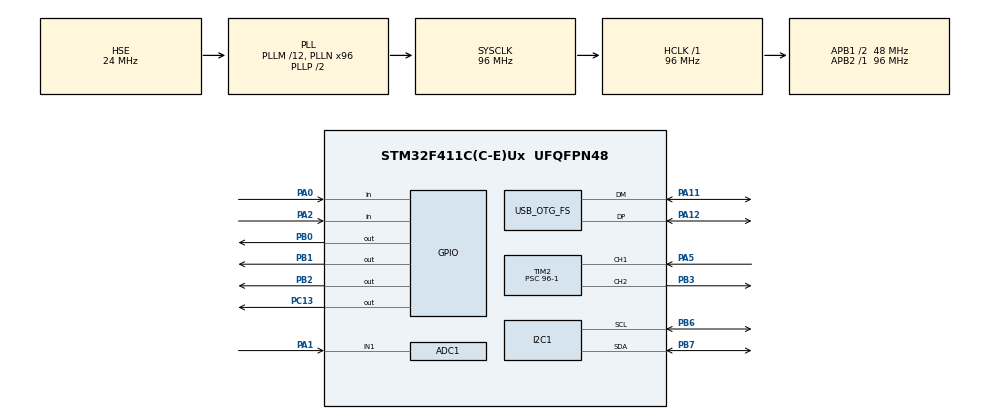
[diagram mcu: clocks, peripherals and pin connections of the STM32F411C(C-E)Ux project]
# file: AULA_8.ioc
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ADC1.Channel-6\#ChannelRegularConversion=ADC_CHANNEL_1
ADC1.DMAContinuousRequests=ENABLE
ADC1.ExternalTrigConv=ADC_EXTERNALTRIGCONV_T2_TRGO
ADC1.ExternalTrigConvEdge=ADC_EXTERNALTRIGCONVEDGE_RISINGFALLING
ADC1.NbrOfConversionFlag=1
ADC1.Rank-6\#ChannelRegularConversion=1
ADC1.SamplingTime-6\#ChannelRegularConversion=ADC_SAMPLETIME_3CYCLES
ADC1.master=1
Dma.ADC1.0.Direction=DMA_PERIPH_TO_MEMORY
Dma.ADC1.0.FIFOMode=DMA_FIFOMODE_DISABLE
Dma.ADC1.0.Instance=DMA2_Stream0
Dma.ADC1.0.MemDataAlignment=DMA_MDATAALIGN_HALFWORD
Dma.ADC1.0.MemInc=DMA_MINC_ENABLE
Dma.ADC1.0.Mode=DMA_CIRCULAR
Dma.ADC1.0.PeriphDataAlignment=DMA_PDATAALIGN_HALFWORD
Dma.ADC1.0.PeriphInc=DMA_PINC_DISABLE
Dma.ADC1.0.Priority=DMA_PRIORITY_LOW
Dma.Request0=ADC1
Mcu.Family=STM32F4
Mcu.Name=STM32F411C(C-E)Ux
Mcu.Package=UFQFPN48
<<<<<<< HEAD
<<<<<<< HEAD
=======
>>>>>>> ba589f88c5c0d3c41fc62e627c44f500e650f5d9
=======
>>>>>>> ba589f88c5c0d3c41fc62e627c44f500e650f5d9
NVIC.ADC_IRQn=true\:0\:0\:false\:false\:true\:true\:true\:true
NVIC.DMA2_Stream0_IRQn=true\:0\:0\:false\:false\:true\:false\:true\:true
NVIC.OTG_FS_IRQn=true\:0\:0\:false\:false\:true\:false\:true\:true
NVIC.PriorityGroup=NVIC_PRIORITYGROUP_4
PA0-WKUP.GPIO_PuPd=GPIO_PULLUP
PA0-WKUP.Signal=GPIO_Input
PA1.Signal=ADCx_IN1
PA11.Mode=Device_Only
PA11.Signal=USB_OTG_FS_DM
PA12.Mode=Device_Only
PA12.Signal=USB_OTG_FS_DP
PA13.Mode=Serial_Wire
PA13.Signal=SYS_JTMS-SWDIO
PA14.Mode=Serial_Wire
PA14.Signal=SYS_JTCK-SWCLK
PA2.GPIO_PuPd=GPIO_PULLUP
PA2.Signal=GPIO_Input
PA5.Signal=S_TIM2_CH1_ETR
PB0.Signal=GPIO_Output
PB1.Signal=GPIO_Output
PB2.Signal=GPIO_Output
PB3.Signal=S_TIM2_CH2
PB6.Mode=I2C
PB6.Signal=I2C1_SCL
PB7.Mode=I2C
PB7.Signal=I2C1_SDA
PC13-ANTI_TAMP.Signal=GPIO_Output
PH0\ -\ OSC_IN.Mode=HSE-External-Oscillator
PH0\ -\ OSC_IN.Signal=RCC_OSC_IN
PH1\ -\ OSC_OUT.Mode=HSE-External-Oscillator
PH1\ -\ OSC_OUT.Signal=RCC_OSC_OUT
ProjectManager.HeapSize=0x200
ProjectManager.StackSize=0x400
ProjectManager.TargetToolchain=STM32CubeIDE
RCC.48MHZClocksFreq_Value=48000000
RCC.AHBFreq_Value=96000000
RCC.APB1CLKDivider=RCC_HCLK_DIV2
RCC.APB1Freq_Value=48000000
RCC.APB1TimFreq_Value=96000000
RCC.APB2Freq_Value=96000000
RCC.APB2TimFreq_Value=96000000
RCC.CortexFreq_Value=96000000
RCC.HCLKFreq_Value=96000000
RCC.HSE_VALUE=24000000
RCC.HSI_VALUE=16000000
RCC.LSE_VALUE=32768
RCC.PLLM=12
RCC.PLLN=96
RCC.SYSCLKFreq_VALUE=96000000
RCC.SYSCLKSource=RCC_SYSCLKSOURCE_PLLCLK
RCC.VCOOutputFreq_Value=192000000
SH.ADCx_IN1.0=ADC1_IN1,IN1
SH.S_TIM2_CH1_ETR.0=TIM2_CH1,TriggerSource_TI1FP1
SH.S_TIM2_CH2.0=TIM2_CH2,PWM Generation2 CH2
TIM2.Channel-PWM\ Generation2\ CH2=TIM_CHANNEL_2
TIM2.OCPolarity_2=TIM_OCPOLARITY_LOW
TIM2.Period=2600-1
TIM2.Prescaler=96-1
TIM2.Pulse-PWM\ Generation2\ CH2=2500
TIM2.Slave_TriggerPolarity=TIM_TRIGGERPOLARITY_BOTHEDGE
TIM2.TIM_MasterOutputTrigger=TIM_TRGO_UPDATE
TIM2.TIM_MasterSlaveMode=TIM_MASTERSLAVEMODE_ENABLE
USB_DEVICE.CLASS_NAME_FS=CDC
USB_DEVICE.VirtualMode=Cdc
USB_DEVICE.VirtualModeFS=Cdc_FS
USB_OTG_FS.VirtualMode=Device_Only
VP_TIM2_VS_ClockSourceINT.Mode=Internal
VP_TIM2_VS_ControllerModeTrigger.Mode=Trigger Mode
VP_TIM2_VS_OPM.Mode=OPM_bit
VP_USB_DEVICE_VS_USB_DEVICE_CDC_FS.Mode=CDC_FS
board=custom

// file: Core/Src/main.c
/* USER CODE BEGIN Header */
/**
 ******************************************************************************
 * @file           : main.c
 * @brief          : Main program body
 ******************************************************************************
 * @attention
 *
 * Copyright (c) 2024 STMicroelectronics.
 * All rights reserved.
 *
 * This software is licensed under terms that can be found in the LICENSE file
 * in the root directory of this software component.
 * If no LICENSE file comes with this software, it is provided AS-IS.
 *
 ******************************************************************************
 */
/* USER CODE END Header */
#include "main.h"
#include "usb_device.h"

/* USER CODE BEGIN Includes */
#include <string.h>
#include <stdio.h>
#include <count2volt.h>

/* USER CODE END Includes */

/* USER CODE BEGIN PD */
#define ADCBUFFERSIZE 20
#define ADCRES 12
//#define ROUNDRES // for fun only
//#define GRAPH
/* USER CODE END PD */

ADC_HandleTypeDef hadc1;
DMA_HandleTypeDef hdma_adc1;

I2C_HandleTypeDef hi2c1;

TIM_HandleTypeDef htim2;

/* USER CODE BEGIN PV */
HAL_StatusTypeDef RetTimer, RetADC;
GPIO_PinState extTrigger, PWMOutput, pinState;
char bufferCDC[32]; // for debug purposes
uint16_t line, level, flag = 0, flagAVG = 1, flagLevels = 1;
uint16_t buffer[32], bufferADC[ADCBUFFERSIZE];
uint32_t counts;
float volts, l1avg, l2avg, diff, evenAcc, oddAcc;
/* USER CODE END PV */

void SystemClock_Config(void);
static void MX_GPIO_Init(void);
static void MX_DMA_Init(void);
static void MX_TIM2_Init(void);
static void MX_ADC1_Init(void);
static void MX_I2C1_Init(void);
/* USER CODE BEGIN PFP */
void seqLevels();
void avgDiff();
void checkError(float l1avg, float l2avg);
/* USER CODE END PFP */

int main(void)
{

  /* MCU Configuration--------------------------------------------------------*/

  /* Reset of all peripherals, Initializes the Flash interface and the Systick. */
  HAL_Init();

  /* Configure the system clock */
  SystemClock_Config();

  /* Initialize all configured peripherals */
  MX_GPIO_Init();
  MX_DMA_Init();
  MX_TIM2_Init();
  MX_ADC1_Init();
  MX_I2C1_Init();
  MX_USB_DEVICE_Init();
  /* USER CODE BEGIN 2 */

	lcd_init();
	HAL_Delay(100);
	lcd_clear();
	HAL_Delay(100);

	/* Tests timer and ADC for perfect initialization */
	RetTimer = HAL_TIM_PWM_Start(&htim2, TIM_CHANNEL_2);
	RetADC = HAL_ADC_Start_DMA(&hadc1, (uint32_t*) bufferADC, ADCBUFFERSIZE);
	if (RetTimer == HAL_OK && RetADC == HAL_OK) {
		HAL_Delay(200);
		for (uint8_t i = 0; i < 10; i++) {
			HAL_GPIO_TogglePin(GPIOC, GPIO_PIN_13);
			HAL_Delay(200);
		}
		HAL_GPIO_WritePin(GPIOC, GPIO_PIN_13, GPIO_PIN_RESET);
	}
	else {
		Error_Handler();
	}

  /* USER CODE END 2 */

  /* Infinite loop */
  /* USER CODE BEGIN WHILE */
	while (1) {
		pinState = HAL_GPIO_ReadPin(GPIOA, GPIO_PIN_0); // Button for selection
		if (pinState == GPIO_PIN_SET) {
			if (flagAVG) {
				lcd_clear();
				lcd_put_cur(0, 1);
				lcd_send_string("MEDIAS E DIFERENCA");
				HAL_Delay(1200);
				lcd_clear();
				flagAVG = 0;
				flagLevels = 1;
			}
			if (flag) {
				avgDiff();
				flag = 0;
			}
		} else {
			lcd_clear();
			HAL_Delay(1000);
			if (flagLevels) {
				lcd_put_cur(0, 0);
				lcd_send_string("SEQUENCIA DE NIVEIS");
				HAL_Delay(1200);
				flagLevels = 0;
				flagAVG = 1;
			}
			lcd_clear();
			if (flag) {
				seqLevels();
				flag = 0;
			}
			lcd_clear();
			HAL_Delay(1000);
		}

		HAL_Delay(2000);
	}
	/*

	 */

    /* USER CODE END WHILE */

}

void SystemClock_Config(void)
{
  RCC_OscInitTypeDef RCC_OscInitStruct = {0};
  RCC_ClkInitTypeDef RCC_ClkInitStruct = {0};

  /** Configure the main internal regulator output voltage
  */
  __HAL_RCC_PWR_CLK_ENABLE();
  __HAL_PWR_VOLTAGESCALING_CONFIG(PWR_REGULATOR_VOLTAGE_SCALE1);

  /** Initializes the RCC Oscillators according to the specified parameters
  * in the RCC_OscInitTypeDef structure.
  */
  RCC_OscInitStruct.OscillatorType = RCC_OSCILLATORTYPE_HSE;
  RCC_OscInitStruct.HSEState = RCC_HSE_ON;
  RCC_OscInitStruct.PLL.PLLState = RCC_PLL_ON;
  RCC_OscInitStruct.PLL.PLLSource = RCC_PLLSOURCE_HSE;
  RCC_OscInitStruct.PLL.PLLM = 12;
  RCC_OscInitStruct.PLL.PLLN = 96;
  RCC_OscInitStruct.PLL.PLLP = RCC_PLLP_DIV2;
  RCC_OscInitStruct.PLL.PLLQ = 4;
  if (HAL_RCC_OscConfig(&RCC_OscInitStruct) != HAL_OK)
  {
    Error_Handler();
  }

  /** Initializes the CPU, AHB and APB buses clocks
  */
  RCC_ClkInitStruct.ClockType = RCC_CLOCKTYPE_HCLK|RCC_CLOCKTYPE_SYSCLK
                              |RCC_CLOCKTYPE_PCLK1|RCC_CLOCKTYPE_PCLK2;
  RCC_ClkInitStruct.SYSCLKSource = RCC_SYSCLKSOURCE_PLLCLK;
  RCC_ClkInitStruct.AHBCLKDivider = RCC_SYSCLK_DIV1;
  RCC_ClkInitStruct.APB1CLKDivider = RCC_HCLK_DIV2;
  RCC_ClkInitStruct.APB2CLKDivider = RCC_HCLK_DIV1;

  if (HAL_RCC_ClockConfig(&RCC_ClkInitStruct, FLASH_LATENCY_3) != HAL_OK)
  {
    Error_Handler();
  }
}

static void MX_ADC1_Init(void)
{

  ADC_ChannelConfTypeDef sConfig = {0};

  /** Configure the global features of the ADC (Clock, Resolution, Data Alignment and number of conversion)
  */
  hadc1.Instance = ADC1;
  hadc1.Init.ClockPrescaler = ADC_CLOCK_SYNC_PCLK_DIV4;
  hadc1.Init.Resolution = ADC_RESOLUTION_12B;
  hadc1.Init.ScanConvMode = DISABLE;
  hadc1.Init.ContinuousConvMode = DISABLE;
  hadc1.Init.DiscontinuousConvMode = DISABLE;
  hadc1.Init.ExternalTrigConvEdge = ADC_EXTERNALTRIGCONVEDGE_RISINGFALLING;
  hadc1.Init.ExternalTrigConv = ADC_EXTERNALTRIGCONV_T2_TRGO;
  hadc1.Init.DataAlign = ADC_DATAALIGN_RIGHT;
  hadc1.Init.NbrOfConversion = 1;
  hadc1.Init.DMAContinuousRequests = ENABLE;
  hadc1.Init.EOCSelection = ADC_EOC_SINGLE_CONV;
  if (HAL_ADC_Init(&hadc1) != HAL_OK)
  {
    Error_Handler();
  }

  /** Configure for the selected ADC regular channel its corresponding rank in the sequencer and its sample time.
  */
  sConfig.Channel = ADC_CHANNEL_1;
  sConfig.Rank = 1;
  sConfig.SamplingTime = ADC_SAMPLETIME_3CYCLES;
  if (HAL_ADC_ConfigChannel(&hadc1, &sConfig) != HAL_OK)
  {
    Error_Handler();
  }

}

static void MX_I2C1_Init(void)
{

  hi2c1.Instance = I2C1;
  hi2c1.Init.ClockSpeed = 100000;
  hi2c1.Init.DutyCycle = I2C_DUTYCYCLE_2;
  hi2c1.Init.OwnAddress1 = 0;
  hi2c1.Init.AddressingMode = I2C_ADDRESSINGMODE_7BIT;
  hi2c1.Init.DualAddressMode = I2C_DUALADDRESS_DISABLE;
  hi2c1.Init.OwnAddress2 = 0;
  hi2c1.Init.GeneralCallMode = I2C_GENERALCALL_DISABLE;
  hi2c1.Init.NoStretchMode = I2C_NOSTRETCH_DISABLE;
  if (HAL_I2C_Init(&hi2c1) != HAL_OK)
  {
    Error_Handler();
  }

}

static void MX_TIM2_Init(void)
{

  TIM_ClockConfigTypeDef sClockSourceConfig = {0};
  TIM_SlaveConfigTypeDef sSlaveConfig = {0};
  TIM_MasterConfigTypeDef sMasterConfig = {0};
  TIM_OC_InitTypeDef sConfigOC = {0};

  htim2.Instance = TIM2;
  htim2.Init.Prescaler = 96-1;
  htim2.Init.CounterMode = TIM_COUNTERMODE_UP;
  htim2.Init.Period = 2600-1;
  htim2.Init.ClockDivision = TIM_CLOCKDIVISION_DIV1;
  htim2.Init.AutoReloadPreload = TIM_AUTORELOAD_PRELOAD_DISABLE;
  if (HAL_TIM_Base_Init(&htim2) != HAL_OK)
  {
    Error_Handler();
  }
  sClockSourceConfig.ClockSource = TIM_CLOCKSOURCE_INTERNAL;
  if (HAL_TIM_ConfigClockSource(&htim2, &sClockSourceConfig) != HAL_OK)
  {
    Error_Handler();
  }
  if (HAL_TIM_PWM_Init(&htim2) != HAL_OK)
  {
    Error_Handler();
  }
  if (HAL_TIM_OnePulse_Init(&htim2, TIM_OPMODE_SINGLE) != HAL_OK)
  {
    Error_Handler();
  }
  sSlaveConfig.SlaveMode = TIM_SLAVEMODE_TRIGGER;
  sSlaveConfig.InputTrigger = TIM_TS_TI1FP1;
  sSlaveConfig.TriggerPolarity = TIM_TRIGGERPOLARITY_BOTHEDGE;
  sSlaveConfig.TriggerFilter = 0;
  if (HAL_TIM_SlaveConfigSynchro(&htim2, &sSlaveConfig) != HAL_OK)
  {
    Error_Handler();
  }
  sMasterConfig.MasterOutputTrigger = TIM_TRGO_UPDATE;
  sMasterConfig.MasterSlaveMode = TIM_MASTERSLAVEMODE_ENABLE;
  if (HAL_TIMEx_MasterConfigSynchronization(&htim2, &sMasterConfig) != HAL_OK)
  {
    Error_Handler();
  }
  sConfigOC.OCMode = TIM_OCMODE_PWM1;
  sConfigOC.Pulse = 2500;
  sConfigOC.OCPolarity = TIM_OCPOLARITY_LOW;
  sConfigOC.OCFastMode = TIM_OCFAST_DISABLE;
  if (HAL_TIM_PWM_ConfigChannel(&htim2, &sConfigOC, TIM_CHANNEL_2) != HAL_OK)
  {
    Error_Handler();
  }
  HAL_TIM_MspPostInit(&htim2);

}

static void MX_DMA_Init(void)
{

  /* DMA controller clock enable */
  __HAL_RCC_DMA2_CLK_ENABLE();

  /* DMA interrupt init */
  /* DMA2_Stream0_IRQn interrupt configuration */
  HAL_NVIC_SetPriority(DMA2_Stream0_IRQn, 0, 0);
  HAL_NVIC_EnableIRQ(DMA2_Stream0_IRQn);

}

static void MX_GPIO_Init(void)
{
  GPIO_InitTypeDef GPIO_InitStruct = {0};

  /* GPIO Ports Clock Enable */
  __HAL_RCC_GPIOC_CLK_ENABLE();
  __HAL_RCC_GPIOH_CLK_ENABLE();
  __HAL_RCC_GPIOA_CLK_ENABLE();
  __HAL_RCC_GPIOB_CLK_ENABLE();

  /*Configure GPIO pin Output Level */
  HAL_GPIO_WritePin(GPIOC, GPIO_PIN_13, GPIO_PIN_RESET);

  /*Configure GPIO pin Output Level */
  HAL_GPIO_WritePin(GPIOB, GPIO_PIN_0|GPIO_PIN_1|GPIO_PIN_2, GPIO_PIN_RESET);

  /*Configure GPIO pin : PC13 */
  GPIO_InitStruct.Pin = GPIO_PIN_13;
  GPIO_InitStruct.Mode = GPIO_MODE_OUTPUT_PP;
  GPIO_InitStruct.Pull = GPIO_NOPULL;
  GPIO_InitStruct.Speed = GPIO_SPEED_FREQ_LOW;
  HAL_GPIO_Init(GPIOC, &GPIO_InitStruct);

  /*Configure GPIO pins : PA0 PA2 */
  GPIO_InitStruct.Pin = GPIO_PIN_0|GPIO_PIN_2;
  GPIO_InitStruct.Mode = GPIO_MODE_INPUT;
  GPIO_InitStruct.Pull = GPIO_PULLUP;
  HAL_GPIO_Init(GPIOA, &GPIO_InitStruct);

  /*Configure GPIO pins : PB0 PB1 PB2 */
  GPIO_InitStruct.Pin = GPIO_PIN_0|GPIO_PIN_1|GPIO_PIN_2;
  GPIO_InitStruct.Mode = GPIO_MODE_OUTPUT_PP;
  GPIO_InitStruct.Pull = GPIO_NOPULL;
  GPIO_InitStruct.Speed = GPIO_SPEED_FREQ_LOW;
  HAL_GPIO_Init(GPIOB, &GPIO_InitStruct);

}

/* USER CODE BEGIN 4 */

void avgDiff() {
	evenAcc = 0.0;
	oddAcc = 0.0;

	for (uint8_t i = 0; i < ADCBUFFERSIZE; i++) {
		counts = bufferADC[i];
		volts = count2volt(ADCRES, counts);
		#ifdef ROUNDRES // just for fun
			volts = round(volts);
		#endif
		(i % 2 == 0) ? (evenAcc += volts) : (oddAcc += volts);
	}

	l1avg = evenAcc / (ADCBUFFERSIZE / 2.0);
	l2avg = oddAcc / (ADCBUFFERSIZE / 2.0);
	diff = l1avg - l2avg;

	lcd_put_cur(0, 0);
	lcd_send_string("Nivel1 = ");
	lcd_put_cur(0, 9);
	sprintf(buffer, "%1.4f", l1avg);
	lcd_send_string(buffer);

	lcd_put_cur(1, 0);
	lcd_send_string("Nivel2 = ");
	lcd_put_cur(1, 9);
	sprintf(buffer, "%1.4f", l2avg);
	lcd_send_string(buffer);

	lcd_put_cur(3, 0);
	lcd_send_string("N1-N2 = ");
	lcd_put_cur(3, 8);
	sprintf(buffer, "%1.4f", diff);
	lcd_send_string(buffer);

}

void seqLevels() {
	line = 0;
	for (uint8_t i = 0; i < ADCBUFFERSIZE; i++) {
		if (i > 0 && i % 4 == 0) { 	// Deletes LCD for next four readings.
			line = 0;				// Resets the line for its initial
			lcd_clear();			// range (0 to 3).
			HAL_Delay(100);
		}
		if (i < 10) {
			lcd_put_cur(line, 9);
		}
		else if (i > 9 && i < 100) {
			lcd_put_cur(line, 10);
		}
		else if (i > 99) {
			lcd_put_cur(line, 11);
		}
		else {
			lcd_clear();
		}

		counts = bufferADC[i];
		volts = count2volt(ADCRES, counts);
		#ifdef ROUNDRES // for fun only
			volts = round(volts);
		#endif
		lcd_put_cur(line, 0);
		level = i + 1;
		sprintf(buffer, "Nivel%d = ", level);
		lcd_send_string(buffer);
		sprintf(buffer, "%1.4f", volts);
		lcd_send_string(buffer);
		HAL_Delay(800);
		line++;
	}
	HAL_Delay(1000);
}

void HAL_ADC_ConvCpltCallback(ADC_HandleTypeDef *hadc) {
	if (hadc->Instance == ADC1) {
		flag = 1;
	}
}
/* USER CODE END 4 */

void Error_Handler(void)
{
	__disable_irq();
	while (1) {
	}
}
